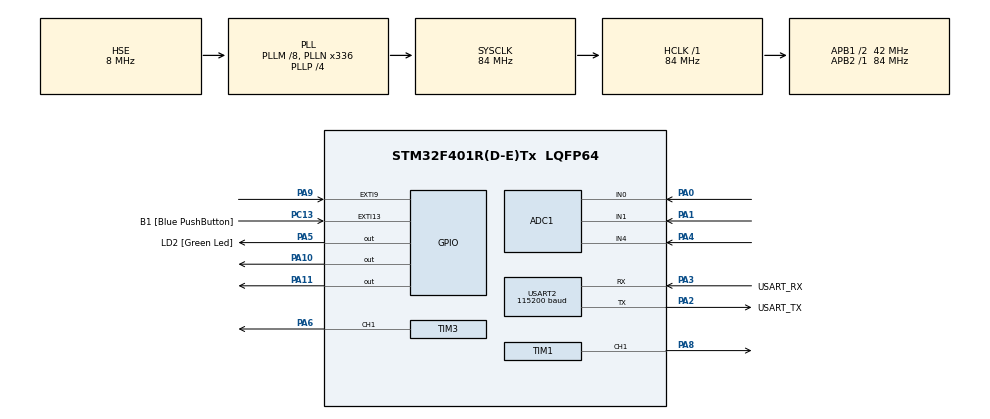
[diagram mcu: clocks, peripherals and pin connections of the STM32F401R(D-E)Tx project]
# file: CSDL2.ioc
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ADC1.Channel-0\#ChannelRegularConversion=ADC_CHANNEL_0
ADC1.Channel-1\#ChannelRegularConversion=ADC_CHANNEL_1
ADC1.Channel-2\#ChannelRegularConversion=ADC_CHANNEL_4
ADC1.ContinuousConvMode=ENABLE
ADC1.DMAContinuousRequests=ENABLE
ADC1.DiscontinuousConvMode=DISABLE
ADC1.EOCSelection=ADC_EOC_SEQ_CONV
ADC1.EnableAnalogWatchDog=false
ADC1.ExternalTrigConv=ADC_SOFTWARE_START
ADC1.NbrOfConversion=3
ADC1.NbrOfConversionFlag=1
ADC1.Rank-0\#ChannelRegularConversion=1
ADC1.Rank-1\#ChannelRegularConversion=2
ADC1.Rank-2\#ChannelRegularConversion=3
ADC1.SamplingTime-0\#ChannelRegularConversion=ADC_SAMPLETIME_480CYCLES
ADC1.SamplingTime-1\#ChannelRegularConversion=ADC_SAMPLETIME_480CYCLES
ADC1.SamplingTime-2\#ChannelRegularConversion=ADC_SAMPLETIME_480CYCLES
ADC1.ScanConvMode=ENABLE
ADC1.master=1
Dma.ADC1.0.Direction=DMA_PERIPH_TO_MEMORY
Dma.ADC1.0.FIFOMode=DMA_FIFOMODE_DISABLE
Dma.ADC1.0.Instance=DMA2_Stream0
Dma.ADC1.0.MemDataAlignment=DMA_MDATAALIGN_HALFWORD
Dma.ADC1.0.MemInc=DMA_MINC_ENABLE
Dma.ADC1.0.Mode=DMA_CIRCULAR
Dma.ADC1.0.PeriphDataAlignment=DMA_PDATAALIGN_HALFWORD
Dma.ADC1.0.PeriphInc=DMA_PINC_DISABLE
Dma.ADC1.0.Priority=DMA_PRIORITY_LOW
Dma.Request0=ADC1
Mcu.Family=STM32F4
Mcu.Name=STM32F401R(D-E)Tx
Mcu.Package=LQFP64
NVIC.ADC_IRQn=true\:1\:0\:true\:false\:true\:true\:true\:true
NVIC.DMA2_Stream0_IRQn=true\:0\:0\:false\:false\:true\:false\:true\:true
NVIC.EXTI9_5_IRQn=true\:0\:0\:false\:false\:true\:true\:true\:true
NVIC.PriorityGroup=NVIC_PRIORITYGROUP_4
NVIC.TIM2_IRQn=true\:0\:0\:false\:false\:true\:true\:true\:true
NVIC.USART2_IRQn=true\:0\:0\:false\:false\:true\:true\:true\:true
PA0-WKUP.Signal=ADCx_IN0
PA1.Signal=ADCx_IN1
PA10.Signal=GPIO_Output
PA11.Signal=GPIO_Output
PA13.GPIO_Label=TMS
PA13.Mode=Serial_Wire
PA13.Signal=SYS_JTMS-SWDIO
PA14.GPIO_Label=TCK
PA14.Mode=Serial_Wire
PA14.Signal=SYS_JTCK-SWCLK
PA2.GPIO_Label=USART_TX
PA2.GPIO_Mode=GPIO_MODE_AF_PP
PA2.GPIO_PuPd=GPIO_NOPULL
PA2.GPIO_Speed=GPIO_SPEED_FREQ_LOW
PA2.Mode=Asynchronous
PA2.Signal=USART2_TX
PA3.GPIO_Label=USART_RX
PA3.GPIO_Mode=GPIO_MODE_AF_PP
PA3.GPIO_PuPd=GPIO_NOPULL
PA3.GPIO_Speed=GPIO_SPEED_FREQ_LOW
PA3.Mode=Asynchronous
PA3.Signal=USART2_RX
PA4.Signal=ADCx_IN4
PA5.GPIO_Label=LD2 [Green Led]
PA5.GPIO_Mode=GPIO_MODE_OUTPUT_PP
PA5.GPIO_PuPd=GPIO_NOPULL
PA5.GPIO_Speed=GPIO_SPEED_FREQ_LOW
PA5.Signal=GPIO_Output
PA6.Signal=S_TIM3_CH1
PA8.Signal=S_TIM1_CH1
PA9.GPIO_ModeDefaultEXTI=GPIO_MODE_IT_FALLING
PA9.GPIO_PuPd=GPIO_PULLUP
PA9.Signal=GPXTI9
PB3.GPIO_Label=SWO
PB3.Signal=SYS_JTDO-SWO
PC13-ANTI_TAMP.GPIO_Label=B1 [Blue PushButton]
PC13-ANTI_TAMP.GPIO_ModeDefaultEXTI=GPIO_MODE_IT_FALLING
PC13-ANTI_TAMP.GPIO_PuPd=GPIO_NOPULL
PC13-ANTI_TAMP.Signal=GPXTI13
PC14-OSC32_IN.Mode=LSE-External-Oscillator
PC14-OSC32_IN.Signal=RCC_OSC32_IN
PC15-OSC32_OUT.Mode=LSE-External-Oscillator
PC15-OSC32_OUT.Signal=RCC_OSC32_OUT
PH0\ -\ OSC_IN.Mode=HSE-External-Oscillator
PH0\ -\ OSC_IN.Signal=RCC_OSC_IN
PH1\ -\ OSC_OUT.Mode=HSE-External-Oscillator
PH1\ -\ OSC_OUT.Signal=RCC_OSC_OUT
ProjectManager.HeapSize=0x200
ProjectManager.StackSize=0x400
ProjectManager.TargetToolchain=STM32CubeIDE
RCC.48MHZClocksFreq_Value=48000000
RCC.AHBFreq_Value=84000000
RCC.APB1CLKDivider=RCC_HCLK_DIV2
RCC.APB1Freq_Value=42000000
RCC.APB1TimFreq_Value=84000000
RCC.APB2Freq_Value=84000000
RCC.APB2TimFreq_Value=84000000
RCC.CortexFreq_Value=84000000
RCC.HCLKFreq_Value=84000000
RCC.HSE_VALUE=8000000
RCC.HSI_VALUE=16000000
RCC.PLLM=8
RCC.PLLN=336
RCC.PLLP=RCC_PLLP_DIV4
RCC.PLLQ=7
RCC.PLLSourceVirtual=RCC_PLLSOURCE_HSE
RCC.SYSCLKFreq_VALUE=84000000
RCC.SYSCLKSource=RCC_SYSCLKSOURCE_PLLCLK
RCC.VCOOutputFreq_Value=336000000
SH.ADCx_IN0.0=ADC1_IN0,IN0
SH.ADCx_IN1.0=ADC1_IN1,IN1
SH.ADCx_IN4.0=ADC1_IN4,IN4
SH.S_TIM1_CH1.0=TIM1_CH1,PWM Generation1 CH1
SH.S_TIM3_CH1.0=TIM3_CH1,PWM Generation1 CH1
TIM1.Channel-PWM\ Generation1\ CH1=TIM_CHANNEL_1
TIM1.Period=1000-1
TIM1.Prescaler=84-1
TIM1.Pulse-PWM\ Generation1\ CH1=999
TIM2.Period=1000-1
TIM2.Prescaler=840-1
TIM3.Channel-PWM\ Generation1\ CH1=TIM_CHANNEL_1
TIM3.Period=1000-1
TIM3.Prescaler=840-1
USART2.BaudRate=115200
USART2.VirtualMode=VM_ASYNC
VP_TIM1_VS_ClockSourceINT.Mode=Internal
VP_TIM2_VS_ClockSourceINT.Mode=Internal
VP_TIM3_VS_ClockSourceINT.Mode=Internal
board=NUCLEO-F401RE

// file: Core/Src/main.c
/* USER CODE BEGIN Header */
/**
  ******************************************************************************
  * @file           : main.c
  * @brief          : Main program body
  ******************************************************************************
  * @attention
  *
  * Copyright (c) 2025 STMicroelectronics.
  * All rights reserved.
  *
  * This software is licensed under terms that can be found in the LICENSE file
  * in the root directory of this software component.
  * If no LICENSE file comes with this software, it is provided AS-IS.
  *
  ******************************************************************************
  */
/* USER CODE END Header */
#include "main.h"

/* USER CODE BEGIN Includes */
#include "stdio.h"
#include "string.h"
#include "stdbool.h"
#include "stdlib.h"
/* USER CODE END Includes */

/* USER CODE BEGIN PD */
#define STRBUFLEN 15
/* USER CODE END PD */

ADC_HandleTypeDef hadc1;
DMA_HandleTypeDef hdma_adc1;

TIM_HandleTypeDef htim1;
TIM_HandleTypeDef htim2;
TIM_HandleTypeDef htim3;

UART_HandleTypeDef huart2;

/* USER CODE BEGIN PV */
uint16_t AD_RES_BUFFER[3];
uint16_t light = 0;
uint16_t filtered_light = 0;
uint16_t gas = 0;
float temperature = 0;
uint32_t buzzer_start = 0;
bool buzzer_on = false;
uint8_t rxbuf[STRBUFLEN];
float desired_temperature = 35.0f;
char message[100];  // Changed to char for string operations
int pulse_count = 0;

volatile int stop_motor_flag = 0;
int spinning_forward = 0;
int spinning_backward = 0;
int spun = 0;
int i = 0;

float kp = 0.5f, ki = 0.01f, kd = 0.0005f;
float error = 0.0f, prev_error = 0.0f;
float integral = 0.0f, derivative = 0.0f;
float spins = 2.0f; // Desired pulse count
float target_count = 0.0f;
float max_output = 0.0f;
float control_output = 0.0f;
/* USER CODE END PV */

void SystemClock_Config(void);
static void MX_GPIO_Init(void);
static void MX_DMA_Init(void);
static void MX_USART2_UART_Init(void);
static void MX_ADC1_Init(void);
static void MX_TIM1_Init(void);
static void MX_TIM2_Init(void);
static void MX_TIM3_Init(void);

int main(void)
{

  /* USER CODE BEGIN 1 */
  target_count = 990 * spins;
  max_output = kp * target_count + kd * target_count / 0.01f;
  /* USER CODE END 1 */

  /* MCU Configuration--------------------------------------------------------*/

  /* Reset of all peripherals, Initializes the Flash interface and the Systick. */
  HAL_Init();

  /* Configure the system clock */
  SystemClock_Config();

  /* Initialize all configured peripherals */
  MX_GPIO_Init();
  MX_DMA_Init();
  MX_USART2_UART_Init();
  MX_ADC1_Init();
  MX_TIM1_Init();
  MX_TIM2_Init();
  MX_TIM3_Init();
  /* USER CODE BEGIN 2 */
  HAL_GPIO_WritePin(GPIOA, GPIO_PIN_10, GPIO_PIN_RESET);
  HAL_GPIO_WritePin(GPIOA, GPIO_PIN_11, GPIO_PIN_RESET);
  HAL_TIM_PWM_Start(&htim1,TIM_CHANNEL_1);
  HAL_TIM_PWM_Start(&htim3,TIM_CHANNEL_1);
  HAL_TIM_Base_Start_IT(&htim2);
  HAL_ADC_Start_DMA(&hadc1, (uint32_t *)AD_RES_BUFFER, 3);
  HAL_UART_Receive_IT(&huart2, rxbuf, 1);

  // Wait for ADC to stabilize
  HAL_Delay(100); // Brief delay to allow ADC to settle
  for (int i = 0; i < 10; i++) {
      HAL_ADC_Start(&hadc1); // Trigger a few conversions
      HAL_Delay(10);
  }
  /* USER CODE END 2 */

  /* Infinite loop */
  /* USER CODE BEGIN WHILE */
  while (1)
  {
	  // Tính nhiệt độ (LM35: 10mV/°C, Vref = 3.3V, 12-bit ADC)
	  temperature = AD_RES_BUFFER[2] * 3.3f / 4096.0f / 0.01f;
	  light = AD_RES_BUFFER[1];
	  gas = AD_RES_BUFFER[0];

	  filtered_light = light * 0.06 + 0.94 * filtered_light;
    /* USER CODE END WHILE */

    /* USER CODE BEGIN 3 */
	  if (filtered_light > 1400 && !spun && !spinning_forward)
	  {
		  HAL_GPIO_WritePin(GPIOA, GPIO_PIN_10, GPIO_PIN_SET);
		  HAL_GPIO_WritePin(GPIOA, GPIO_PIN_11, GPIO_PIN_RESET);
		  spinning_forward = 1;
		  spinning_backward = 0;
	  }
	  else if (filtered_light <= 1400 && spun && !spinning_backward)
	  {
		  HAL_GPIO_WritePin(GPIOA, GPIO_PIN_10, GPIO_PIN_RESET);
		  HAL_GPIO_WritePin(GPIOA, GPIO_PIN_11, GPIO_PIN_SET);
		  spinning_forward = 0;
		  spinning_backward = 1;
	  }

	  if (stop_motor_flag)
	  {
		  stop_motor_flag = 0;  // Clear flag
	  }

	  if (gas > 1000)
	  {
	  	  Buzzer_On(200); // turn on buzzer for 200ms
	  }

	  Buzzer_Update();

	  uint32_t pwm_duty;

	  if (temperature < desired_temperature)
	  {
		  pwm_duty = 0;
	  }
	  else if (temperature < desired_temperature + 5.0f)
	  {
		  pwm_duty = 400;  // 40% of 1000
	  }
	  else if (temperature < desired_temperature + 10.0f)
	  {
		  pwm_duty = 600;  // 60% of 1000
	  }
	  else
	  {
		  pwm_duty = 800;  // 80% of 1000
	  }

	  __HAL_TIM_SET_COMPARE(&htim3, TIM_CHANNEL_1, pwm_duty);

	  sprintf(message, "%u, %u, %u, %.2f, %.2f\r\n", light, gas, pwm_duty, desired_temperature, temperature);
	  HAL_UART_Transmit(&huart2, (uint8_t*)message, strlen(message), 100);

	  HAL_Delay(100);
  }
  /* USER CODE END 3 */
}

void SystemClock_Config(void)
{
  RCC_OscInitTypeDef RCC_OscInitStruct = {0};
  RCC_ClkInitTypeDef RCC_ClkInitStruct = {0};

  /** Configure the main internal regulator output voltage
  */
  __HAL_RCC_PWR_CLK_ENABLE();
  __HAL_PWR_VOLTAGESCALING_CONFIG(PWR_REGULATOR_VOLTAGE_SCALE2);

  /** Initializes the RCC Oscillators according to the specified parameters
  * in the RCC_OscInitTypeDef structure.
  */
  RCC_OscInitStruct.OscillatorType = RCC_OSCILLATORTYPE_HSE;
  RCC_OscInitStruct.HSEState = RCC_HSE_ON;
  RCC_OscInitStruct.PLL.PLLState = RCC_PLL_ON;
  RCC_OscInitStruct.PLL.PLLSource = RCC_PLLSOURCE_HSE;
  RCC_OscInitStruct.PLL.PLLM = 8;
  RCC_OscInitStruct.PLL.PLLN = 336;
  RCC_OscInitStruct.PLL.PLLP = RCC_PLLP_DIV4;
  RCC_OscInitStruct.PLL.PLLQ = 7;
  if (HAL_RCC_OscConfig(&RCC_OscInitStruct) != HAL_OK)
  {
    Error_Handler();
  }

  /** Initializes the CPU, AHB and APB buses clocks
  */
  RCC_ClkInitStruct.ClockType = RCC_CLOCKTYPE_HCLK|RCC_CLOCKTYPE_SYSCLK
                              |RCC_CLOCKTYPE_PCLK1|RCC_CLOCKTYPE_PCLK2;
  RCC_ClkInitStruct.SYSCLKSource = RCC_SYSCLKSOURCE_PLLCLK;
  RCC_ClkInitStruct.AHBCLKDivider = RCC_SYSCLK_DIV1;
  RCC_ClkInitStruct.APB1CLKDivider = RCC_HCLK_DIV2;
  RCC_ClkInitStruct.APB2CLKDivider = RCC_HCLK_DIV1;

  if (HAL_RCC_ClockConfig(&RCC_ClkInitStruct, FLASH_LATENCY_2) != HAL_OK)
  {
    Error_Handler();
  }
}

static void MX_ADC1_Init(void)
{

  ADC_ChannelConfTypeDef sConfig = {0};

  /** Configure the global features of the ADC (Clock, Resolution, Data Alignment and number of conversion)
  */
  hadc1.Instance = ADC1;
  hadc1.Init.ClockPrescaler = ADC_CLOCK_SYNC_PCLK_DIV4;
  hadc1.Init.Resolution = ADC_RESOLUTION_12B;
  hadc1.Init.ScanConvMode = ENABLE;
  hadc1.Init.ContinuousConvMode = ENABLE;
  hadc1.Init.DiscontinuousConvMode = DISABLE;
  hadc1.Init.ExternalTrigConvEdge = ADC_EXTERNALTRIGCONVEDGE_NONE;
  hadc1.Init.ExternalTrigConv = ADC_SOFTWARE_START;
  hadc1.Init.DataAlign = ADC_DATAALIGN_RIGHT;
  hadc1.Init.NbrOfConversion = 3;
  hadc1.Init.DMAContinuousRequests = ENABLE;
  hadc1.Init.EOCSelection = ADC_EOC_SEQ_CONV;
  if (HAL_ADC_Init(&hadc1) != HAL_OK)
  {
    Error_Handler();
  }

  /** Configure for the selected ADC regular channel its corresponding rank in the sequencer and its sample time.
  */
  sConfig.Channel = ADC_CHANNEL_0;
  sConfig.Rank = 1;
  sConfig.SamplingTime = ADC_SAMPLETIME_480CYCLES;
  if (HAL_ADC_ConfigChannel(&hadc1, &sConfig) != HAL_OK)
  {
    Error_Handler();
  }

  /** Configure for the selected ADC regular channel its corresponding rank in the sequencer and its sample time.
  */
  sConfig.Channel = ADC_CHANNEL_1;
  sConfig.Rank = 2;
  if (HAL_ADC_ConfigChannel(&hadc1, &sConfig) != HAL_OK)
  {
    Error_Handler();
  }

  /** Configure for the selected ADC regular channel its corresponding rank in the sequencer and its sample time.
  */
  sConfig.Channel = ADC_CHANNEL_4;
  sConfig.Rank = 3;
  if (HAL_ADC_ConfigChannel(&hadc1, &sConfig) != HAL_OK)
  {
    Error_Handler();
  }

}

static void MX_TIM1_Init(void)
{

  TIM_ClockConfigTypeDef sClockSourceConfig = {0};
  TIM_MasterConfigTypeDef sMasterConfig = {0};
  TIM_OC_InitTypeDef sConfigOC = {0};
  TIM_BreakDeadTimeConfigTypeDef sBreakDeadTimeConfig = {0};

  htim1.Instance = TIM1;
  htim1.Init.Prescaler = 84-1;
  htim1.Init.CounterMode = TIM_COUNTERMODE_UP;
  htim1.Init.Period = 1000-1;
  htim1.Init.ClockDivision = TIM_CLOCKDIVISION_DIV1;
  htim1.Init.RepetitionCounter = 0;
  htim1.Init.AutoReloadPreload = TIM_AUTORELOAD_PRELOAD_DISABLE;
  if (HAL_TIM_Base_Init(&htim1) != HAL_OK)
  {
    Error_Handler();
  }
  sClockSourceConfig.ClockSource = TIM_CLOCKSOURCE_INTERNAL;
  if (HAL_TIM_ConfigClockSource(&htim1, &sClockSourceConfig) != HAL_OK)
  {
    Error_Handler();
  }
  if (HAL_TIM_PWM_Init(&htim1) != HAL_OK)
  {
    Error_Handler();
  }
  sMasterConfig.MasterOutputTrigger = TIM_TRGO_RESET;
  sMasterConfig.MasterSlaveMode = TIM_MASTERSLAVEMODE_DISABLE;
  if (HAL_TIMEx_MasterConfigSynchronization(&htim1, &sMasterConfig) != HAL_OK)
  {
    Error_Handler();
  }
  sConfigOC.OCMode = TIM_OCMODE_PWM1;
  sConfigOC.Pulse = 999;
  sConfigOC.OCPolarity = TIM_OCPOLARITY_HIGH;
  sConfigOC.OCNPolarity = TIM_OCNPOLARITY_HIGH;
  sConfigOC.OCFastMode = TIM_OCFAST_DISABLE;
  sConfigOC.OCIdleState = TIM_OCIDLESTATE_RESET;
  sConfigOC.OCNIdleState = TIM_OCNIDLESTATE_RESET;
  if (HAL_TIM_PWM_ConfigChannel(&htim1, &sConfigOC, TIM_CHANNEL_1) != HAL_OK)
  {
    Error_Handler();
  }
  sBreakDeadTimeConfig.OffStateRunMode = TIM_OSSR_DISABLE;
  sBreakDeadTimeConfig.OffStateIDLEMode = TIM_OSSI_DISABLE;
  sBreakDeadTimeConfig.LockLevel = TIM_LOCKLEVEL_OFF;
  sBreakDeadTimeConfig.DeadTime = 0;
  sBreakDeadTimeConfig.BreakState = TIM_BREAK_DISABLE;
  sBreakDeadTimeConfig.BreakPolarity = TIM_BREAKPOLARITY_HIGH;
  sBreakDeadTimeConfig.AutomaticOutput = TIM_AUTOMATICOUTPUT_DISABLE;
  if (HAL_TIMEx_ConfigBreakDeadTime(&htim1, &sBreakDeadTimeConfig) != HAL_OK)
  {
    Error_Handler();
  }
  HAL_TIM_MspPostInit(&htim1);

}

static void MX_TIM2_Init(void)
{

  TIM_ClockConfigTypeDef sClockSourceConfig = {0};
  TIM_MasterConfigTypeDef sMasterConfig = {0};

  htim2.Instance = TIM2;
  htim2.Init.Prescaler = 840-1;
  htim2.Init.CounterMode = TIM_COUNTERMODE_UP;
  htim2.Init.Period = 1000-1;
  htim2.Init.ClockDivision = TIM_CLOCKDIVISION_DIV1;
  htim2.Init.AutoReloadPreload = TIM_AUTORELOAD_PRELOAD_DISABLE;
  if (HAL_TIM_Base_Init(&htim2) != HAL_OK)
  {
    Error_Handler();
  }
  sClockSourceConfig.ClockSource = TIM_CLOCKSOURCE_INTERNAL;
  if (HAL_TIM_ConfigClockSource(&htim2, &sClockSourceConfig) != HAL_OK)
  {
    Error_Handler();
  }
  sMasterConfig.MasterOutputTrigger = TIM_TRGO_RESET;
  sMasterConfig.MasterSlaveMode = TIM_MASTERSLAVEMODE_DISABLE;
  if (HAL_TIMEx_MasterConfigSynchronization(&htim2, &sMasterConfig) != HAL_OK)
  {
    Error_Handler();
  }

}

static void MX_TIM3_Init(void)
{

  TIM_ClockConfigTypeDef sClockSourceConfig = {0};
  TIM_MasterConfigTypeDef sMasterConfig = {0};
  TIM_OC_InitTypeDef sConfigOC = {0};

  htim3.Instance = TIM3;
  htim3.Init.Prescaler = 840-1;
  htim3.Init.CounterMode = TIM_COUNTERMODE_UP;
  htim3.Init.Period = 1000-1;
  htim3.Init.ClockDivision = TIM_CLOCKDIVISION_DIV1;
  htim3.Init.AutoReloadPreload = TIM_AUTORELOAD_PRELOAD_DISABLE;
  if (HAL_TIM_Base_Init(&htim3) != HAL_OK)
  {
    Error_Handler();
  }
  sClockSourceConfig.ClockSource = TIM_CLOCKSOURCE_INTERNAL;
  if (HAL_TIM_ConfigClockSource(&htim3, &sClockSourceConfig) != HAL_OK)
  {
    Error_Handler();
  }
  if (HAL_TIM_PWM_Init(&htim3) != HAL_OK)
  {
    Error_Handler();
  }
  sMasterConfig.MasterOutputTrigger = TIM_TRGO_RESET;
  sMasterConfig.MasterSlaveMode = TIM_MASTERSLAVEMODE_DISABLE;
  if (HAL_TIMEx_MasterConfigSynchronization(&htim3, &sMasterConfig) != HAL_OK)
  {
    Error_Handler();
  }
  sConfigOC.OCMode = TIM_OCMODE_PWM1;
  sConfigOC.Pulse = 0;
  sConfigOC.OCPolarity = TIM_OCPOLARITY_HIGH;
  sConfigOC.OCFastMode = TIM_OCFAST_DISABLE;
  if (HAL_TIM_PWM_ConfigChannel(&htim3, &sConfigOC, TIM_CHANNEL_1) != HAL_OK)
  {
    Error_Handler();
  }
  HAL_TIM_MspPostInit(&htim3);

}

static void MX_USART2_UART_Init(void)
{

  huart2.Instance = USART2;
  huart2.Init.BaudRate = 115200;
  huart2.Init.WordLength = UART_WORDLENGTH_8B;
  huart2.Init.StopBits = UART_STOPBITS_1;
  huart2.Init.Parity = UART_PARITY_NONE;
  huart2.Init.Mode = UART_MODE_TX_RX;
  huart2.Init.HwFlowCtl = UART_HWCONTROL_NONE;
  huart2.Init.OverSampling = UART_OVERSAMPLING_16;
  if (HAL_UART_Init(&huart2) != HAL_OK)
  {
    Error_Handler();
  }

}

static void MX_DMA_Init(void)
{

  /* DMA controller clock enable */
  __HAL_RCC_DMA2_CLK_ENABLE();

  /* DMA interrupt init */
  /* DMA2_Stream0_IRQn interrupt configuration */
  HAL_NVIC_SetPriority(DMA2_Stream0_IRQn, 0, 0);
  HAL_NVIC_EnableIRQ(DMA2_Stream0_IRQn);

}

static void MX_GPIO_Init(void)
{
  GPIO_InitTypeDef GPIO_InitStruct = {0};

  /* GPIO Ports Clock Enable */
  __HAL_RCC_GPIOC_CLK_ENABLE();
  __HAL_RCC_GPIOH_CLK_ENABLE();
  __HAL_RCC_GPIOA_CLK_ENABLE();
  __HAL_RCC_GPIOB_CLK_ENABLE();

  /*Configure GPIO pin Output Level */
  HAL_GPIO_WritePin(GPIOA, LD2_Pin|GPIO_PIN_10|GPIO_PIN_11, GPIO_PIN_RESET);

  /*Configure GPIO pin : B1_Pin */
  GPIO_InitStruct.Pin = B1_Pin;
  GPIO_InitStruct.Mode = GPIO_MODE_IT_FALLING;
  GPIO_InitStruct.Pull = GPIO_NOPULL;
  HAL_GPIO_Init(B1_GPIO_Port, &GPIO_InitStruct);

  /*Configure GPIO pins : LD2_Pin PA10 PA11 */
  GPIO_InitStruct.Pin = LD2_Pin|GPIO_PIN_10|GPIO_PIN_11;
  GPIO_InitStruct.Mode = GPIO_MODE_OUTPUT_PP;
  GPIO_InitStruct.Pull = GPIO_NOPULL;
  GPIO_InitStruct.Speed = GPIO_SPEED_FREQ_LOW;
  HAL_GPIO_Init(GPIOA, &GPIO_InitStruct);

  /*Configure GPIO pin : PA9 */
  GPIO_InitStruct.Pin = GPIO_PIN_9;
  GPIO_InitStruct.Mode = GPIO_MODE_IT_FALLING;
  GPIO_InitStruct.Pull = GPIO_PULLUP;
  HAL_GPIO_Init(GPIOA, &GPIO_InitStruct);

  /* EXTI interrupt init*/
  HAL_NVIC_SetPriority(EXTI9_5_IRQn, 0, 0);
  HAL_NVIC_EnableIRQ(EXTI9_5_IRQn);

}

/* USER CODE BEGIN 4 */
void HAL_TIM_PeriodElapsedCallback(TIM_HandleTypeDef *htim)
{
	if ((filtered_light > 1400 && spinning_forward) || (filtered_light <= 1400 && spinning_backward)) {
	        // PID Control
	        error = target_count - pulse_count;
	        float T0 = 0.01f; // Sampling period (10ms)

	        // Calculate PID terms
	        derivative = (error - prev_error) / T0; // Rate of change of error
	        integral += error * T0; // Accumulate error over time
	        control_output = kp * error + ki * integral + kd * derivative;

	        // Clamp output
	        if (control_output > 999.0f) control_output = 999.0f;
	        if (control_output < 0.0f) control_output = 0.0f;

	        // Update PWM duty cycle
	        __HAL_TIM_SET_COMPARE(&htim1, TIM_CHANNEL_1, (uint32_t)control_output);

	        prev_error = error;
	}
}

void HAL_GPIO_EXTI_Callback(uint16_t GPIO_Pin)
{
    if (GPIO_Pin == GPIO_PIN_9)
    {
        pulse_count++;

        if (pulse_count >= target_count)
        {
            HAL_GPIO_WritePin(GPIOA, GPIO_PIN_10, GPIO_PIN_SET);
            HAL_GPIO_WritePin(GPIOA, GPIO_PIN_11, GPIO_PIN_SET);
            __HAL_TIM_SET_COMPARE(&htim1, TIM_CHANNEL_1, 0);  // Set PWM duty cycle to 0
            //HAL_TIM_PWM_Stop(&htim1, TIM_CHANNEL_1);       // Stop PWM
            //HAL_NVIC_DisableIRQ(EXTI9_5_IRQn);                // Disable EXTI interrupt
            pulse_count = 0;
            spinning_forward = 0;
            spinning_backward = 0;
            spun = !spun;
            stop_motor_flag = 1;

            // Reset PID state
            prev_error = 0;
            integral = 0;
        }
    }
}

void Buzzer_On(uint32_t duration_ms)
{
    HAL_GPIO_WritePin(GPIOA, GPIO_PIN_5, GPIO_PIN_SET);
    buzzer_start = HAL_GetTick();
    buzzer_on = true;
}

void Buzzer_Update()
{
    if (buzzer_on && (HAL_GetTick() - buzzer_start >= 200)) {
        HAL_GPIO_WritePin(GPIOA, GPIO_PIN_5, GPIO_PIN_RESET);
        buzzer_on = false;
    }
}

void HAL_ADC_ConvCpltCallback(ADC_HandleTypeDef *hadc){
	UNUSED(hadc);
	//HAL_ADC_Stop_DMA(&hadc1);
}

void HAL_UART_RxCpltCallback(UART_HandleTypeDef *huart) {
	 static int index = 0;
	 static char string[STRBUFLEN + 1];
	 char c;

	 /* Prevent unused argument(s) compilation warning */
	 UNUSED(huart);

	 /* NOTE : This function should not be modified, when the callback is needed,
	           the HAL_UART_RxCpltCallback can be implemented in the user file.
	  */

	  c = rxbuf[0]; // The byte received, first index

	  HAL_UART_Receive_IT(&huart2, rxbuf, 1); // restart

	  //HAL_UART_Transmit(&huart2, &c, sizeof(c), 10); // send the holding buffer, not active input one

	  if ((c == '\r') || (c == '\n') || (index >= STRBUFLEN)) // line termination
	  {
	    string[index] = 0; // NUL terminate string so usable by functions

	    if (index) // non-zero, ie has content
	    {
	      desired_temperature = atof(string);
	      index = 0; // reset pointer in buffer
	    }
	  }
	  else if (index < STRBUFLEN)
	  {
	    string[index++] = c;
	  }

}
/* USER CODE END 4 */

void Error_Handler(void)
{
  __disable_irq();
  while (1)
  {
  }
}
